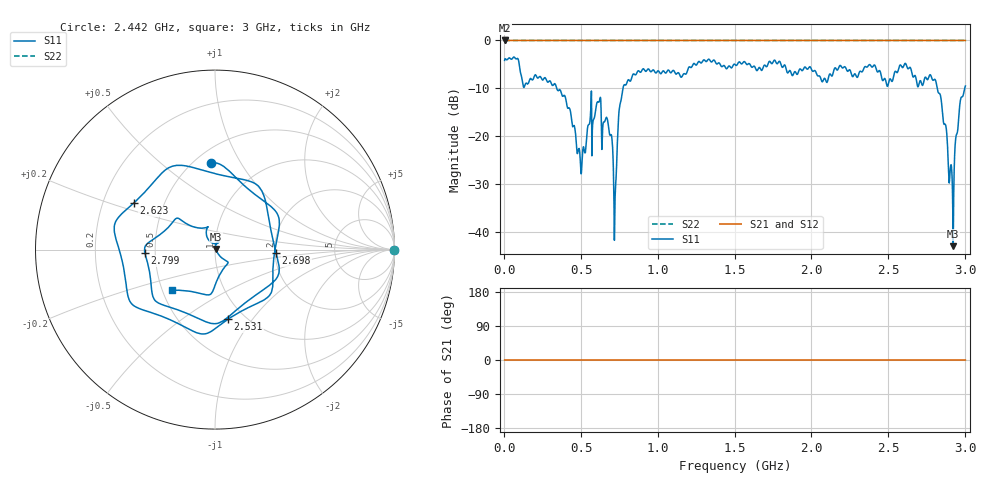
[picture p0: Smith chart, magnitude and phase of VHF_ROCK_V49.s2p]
!Keysight Technologies N9923A: A.08.09
!Date: Thursday, 02 August 2018 07:43:29
!Timezone: (GMT+08:00) Kuala Lumpur, Singapore
!Model: N9923A
!Serial: MY52412143
!GPS Latitude:
!GPS Longitude:
!GPS TimeStamp: 0001-01-01 00:00:00Z
!GPS Seconds Since Last Read: 0
!CHECKSUM:1628853274
!Correction: S11(ON U)S21()S12()S22()
!S2P File: Measurements:S11,S21,S12,S22:
# Hz S DB R 50
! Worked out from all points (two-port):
!   3000 points, 2 MHz to 3.002 GHz, reference 50 ohm
!   highest |S21| = 0.00 dB at 2 MHz (marker M1); lowest = 0.0 dB at 2 MHz (marker M2)
!   |S21| within 3 dB of the highest: start of sweep to end of sweep
!   lowest |S11| = -43.1 dB at 2.922 GHz (marker M3), VSWR 1.01, Z = 50.6 + j0.419 ohm
!   |S11| at or under -10 dB: 340.9 MHz to 773 MHz (432 MHz wide, 77.6 % of centre); 2.818 GHz to 2.997 GHz (179 MHz wide, 6.16 % of centre)
!   |S22| runs from 0.0 to 0.0 dB; largest |S21 - S12| = 0
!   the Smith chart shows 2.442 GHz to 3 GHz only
!   S11 on the Smith chart (normalised r, x): 2.442 GHz: 0.60, +0.76; 2.531 GHz: 0.84, -0.77; 2.623 GHz: 0.33, +0.24; 2.698 GHz: 2.03, -0.08; 2.799 GHz: 0.44, -0.02; 3 GHz: 0.56, -0.28
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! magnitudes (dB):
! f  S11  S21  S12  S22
! 2 MHz  -4.2  0.0  0.0  0.0
! 380.1 MHz  -11.7  0.0  0.0  0.0
! 502.2 MHz  -27.6  0.0  0.0  0.0
! 614.2 MHz  -12.9  0.0  0.0  0.0
! 688.2 MHz  -19.8  0.0  0.0  0.0
! 721.2 MHz  -32.9  0.0  0.0  0.0
! 751.2 MHz  -13.7  0.0  0.0  0.0
! 780.3 MHz  -9.3  0.0  0.0  0.0
! 1.002 GHz  -6.4  0.0  0.0  0.0
! 1.503 GHz  -5.1  0.0  0.0  0.0
! 2.003 GHz  -6.3  0.0  0.0  0.0
! 2.442 GHz  -6.3  0.0  0.0  0.0
! 2.503 GHz  -8.8  0.0  0.0  0.0
! 2.531 GHz  -8.1  0.0  0.0  0.0
! 2.623 GHz  -5.6  0.0  0.0  0.0
! 2.698 GHz  -9.4  0.0  0.0  0.0
! 2.799 GHz  -8.2  0.0  0.0  0.0
! 2.91 GHz  -26.1  0.0  0.0  0.0
! 2.922 GHz  -43.1  0.0  0.0  0.0
! 2.965 GHz  -13.7  0.0  0.0  0.0
! 3 GHz  -9.7  0.0  0.0  0.0
! 3.002 GHz  -9.5  0.0  0.0  0.0
